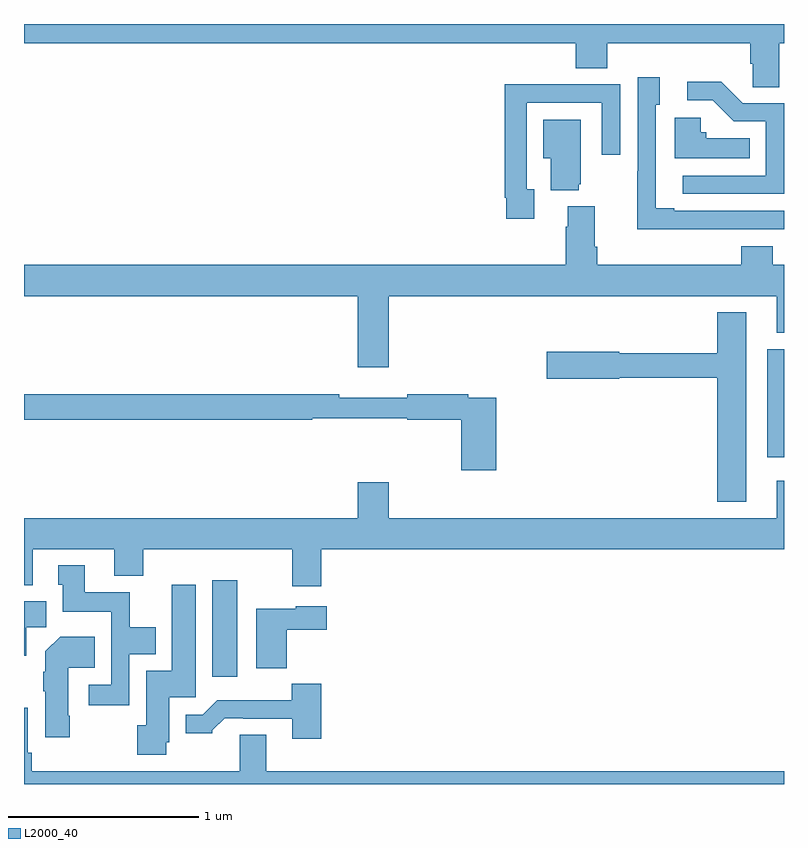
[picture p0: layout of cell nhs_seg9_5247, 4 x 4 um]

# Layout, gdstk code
import gdstk
lib = gdstk.Library(unit=1e-6, precision=1e-09)
def R(c, l, rs):  # rectangles x0, y0, x1, y1
    for r in rs: c.add(gdstk.rectangle(r[:2], r[2:], *l))
def P(c, l, *ps):  # polygons
    for p in ps: c.add(gdstk.Polygon(p, *l))
L2000_40 = (2000, 40)

nhs_seg9_5247 = lib.new_cell('nhs_seg9_5247')
R(nhs_seg9_5247, L2000_40, [(415.991,1213.065,416.122,1213.573), (418.913,1214.22,419,1214.787)])
P(nhs_seg9_5247, L2000_40, [(418.975,1216.4),(419,1216.4),(419,1216.5),(415,1216.5),(415,1216.4),(417.905,1216.4),(417.905,1216.267),(418.07,1216.267),(418.07,1216.4),(418.823,1216.4),(418.823,1216.291),(418.836,1216.291),(418.836,1216.168),(418.975,1216.168)],
  [(418.691,1215.42),(419,1215.42),(419,1215.516),(418.423,1215.516),(418.423,1215.529),(418.326,1215.529),(418.326,1216.074),(418.345,1216.074),(418.345,1216.219),(418.23,1216.219),(418.23,1215.725),(418.228,1215.725),(418.228,1215.419),(418.691,1215.419)],
  [(419,1216.083),(418.782,1216.083),(418.669,1216.196),(418.491,1216.196),(418.491,1216.098),(418.625,1216.098),(418.736,1215.987),(418.905,1215.987),(418.905,1215.702),(418.467,1215.702),(418.467,1215.606),(419,1215.606)],
  [(417.685,1215.63),(417.645,1215.63),(417.645,1216.086),(418.041,1216.086),(418.041,1215.813),(418.137,1215.813),(418.137,1216.182),(417.821,1216.182),(417.821,1216.184),(417.529,1216.184),(417.529,1215.586),(417.537,1215.586),(417.537,1215.474),(417.685,1215.474)],
  [(418.82,1215.898),(418.59,1215.898),(418.59,1215.93),(418.563,1215.93),(418.563,1216.006),(418.424,1216.006),(418.424,1215.794),(418.82,1215.794)],
  [(417.92,1215.657),(417.931,1215.657),(417.931,1215.997),(417.734,1215.997),(417.734,1215.794),(417.773,1215.794),(417.773,1215.626),(417.92,1215.626)],
  [(415,1215.068),(416.756,1215.068),(416.756,1214.694),(416.92,1214.694),(416.92,1215.068),(418.961,1215.068),(418.961,1214.874),(419,1214.874),(419,1215.232),(418.94,1215.232),(418.94,1215.331),(418.775,1215.331),(418.775,1215.232),(418.016,1215.232),(418.016,1215.328),(418.003,1215.328),(418.003,1215.541),(417.863,1215.541),(417.863,1215.434),(417.851,1215.434),(417.851,1215.232),(415,1215.232)],
  [(418.801,1214.983),(418.649,1214.983),(418.649,1214.767),(418.134,1214.767),(418.134,1214.775),(417.75,1214.775),(417.75,1214.633),(418.134,1214.633),(418.134,1214.638),(418.649,1214.638),(418.649,1213.985),(418.801,1213.985)],
  [(417.485,1214.532),(417.338,1214.532),(417.338,1214.552),(417.016,1214.552),(417.016,1214.533),(416.66,1214.533),(416.66,1214.552),(415,1214.552),(415,1214.416),(416.518,1214.416),(416.518,1214.424),(417.018,1214.424),(417.018,1214.416),(417.302,1214.416),(417.302,1214.151),(417.485,1214.151)],
  [(416.564,1213.736),(419,1213.736),(419,1214.095),(418.961,1214.095),(418.961,1213.9),(416.92,1213.9),(416.92,1214.089),(416.756,1214.089),(416.756,1213.9),(415,1213.9),(415,1213.547),(415.045,1213.547),(415.045,1213.736),(415.475,1213.736),(415.475,1213.595),(415.628,1213.595),(415.628,1213.736),(416.411,1213.736),(416.411,1213.542),(416.564,1213.542)],
  [(415.554,1213.184),(415.693,1213.184),(415.693,1213.324),(415.557,1213.324),(415.557,1213.51),(415.321,1213.51),(415.321,1213.651),(415.181,1213.651),(415.181,1213.548),(415.205,1213.548),(415.205,1213.406),(415.458,1213.406),(415.458,1213.023),(415.341,1213.023),(415.341,1212.915),(415.554,1212.915)],
  [(415.749,1212.72),(415.765,1212.72),(415.765,1212.957),(415.903,1212.957),(415.903,1213.549),(415.778,1213.549),(415.778,1213.096),(415.643,1213.096),(415.643,1212.81),(415.597,1212.81),(415.597,1212.654),(415.749,1212.654)],
  [(415.012,1213.324),(415.117,1213.324),(415.117,1213.462),(415,1213.462),(415,1213.176),(415.012,1213.176)],
  [(416.384,1213.313),(416.593,1213.313),(416.593,1213.435),(416.43,1213.435),(416.43,1213.423),(416.222,1213.423),(416.222,1213.109),(416.384,1213.109)],
  [(415.242,1212.859),(415.234,1212.859),(415.234,1213.112),(415.373,1213.112),(415.373,1213.276),(415.19,1213.276),(415.112,1213.198),(415.112,1213.091),(415.1,1213.091),(415.1,1212.988),(415.112,1212.988),(415.112,1212.747),(415.242,1212.747)],
  [(416.564,1213.027),(416.409,1213.027),(416.409,1212.94),(416.017,1212.94),(415.941,1212.864),(415.85,1212.864),(415.85,1212.767),(415.992,1212.767),(415.992,1212.782),(416.056,1212.846),(416.155,1212.846),(416.155,1212.843),(416.411,1212.843),(416.411,1212.738),(416.564,1212.738)],
  [(419,1212.568),(416.275,1212.568),(416.275,1212.758),(416.135,1212.758),(416.135,1212.568),(415.04,1212.568),(415.04,1212.664),(415.02,1212.664),(415.02,1212.901),(415,1212.901),(415,1212.5),(419,1212.5)])

lib.write_gds('nhs_seg9_5247.gds')
